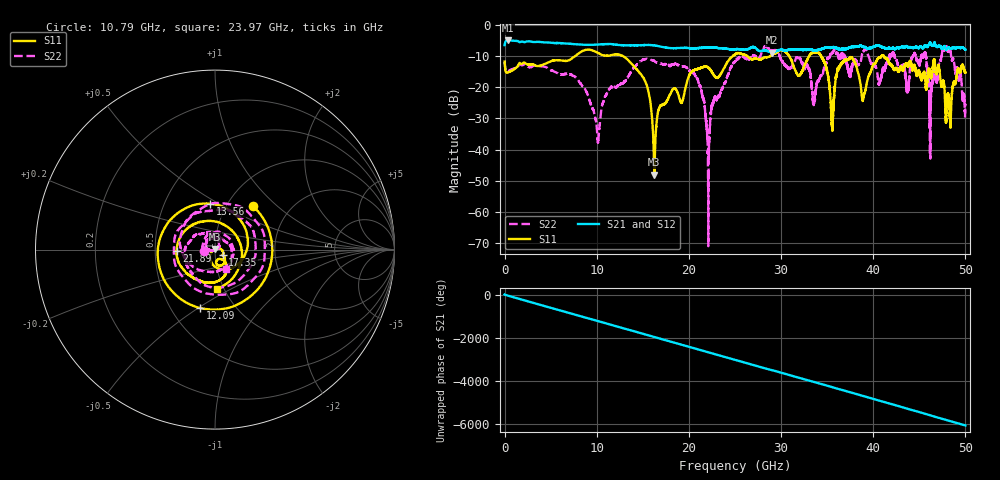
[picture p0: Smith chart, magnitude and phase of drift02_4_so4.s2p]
!Created with skrf (http://scikit-rf.org).
# Hz S RI R 50.0
!freq ReS11 ImS11 ReS21 ImS21 ReS12 ImS12 ReS22 ImS22
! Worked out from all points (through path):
!   10001 points, 300 kHz to 50 GHz, reference 50 ohm
!   highest |S21| = -5.04 dB at 325.3 MHz (marker M1); lowest = -8.9 dB at 29.05 GHz (marker M2)
!   group delay of S21, straight-line fit = 336 ps
!   lowest |S11| = -48.0 dB at 16.25 GHz (marker M3), VSWR 1.01, Z = 49.8 + j0.357 ohm
!   |S11| at or under -10 dB: start of sweep to 7.669 GHz; 12.81 GHz to 24.77 GHz (11.96 GHz wide, 63.6 % of centre); 41.12 GHz to end of sweep (the widest 3 of 14)
!   |S22| runs from -70.9 to -6.9 dB; largest |S21 - S12| = 0.031
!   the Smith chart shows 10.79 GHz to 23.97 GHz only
!   S11 on the Smith chart (normalised r, x): 10.79 GHz: 1.32, +0.71; 12.09 GHz: 0.69, -0.51; 13.56 GHz: 0.84, +0.46; 17.35 GHz: 1.09, -0.07; 21.89 GHz: 0.65, -0.01; 23.97 GHz: 0.92, -0.43
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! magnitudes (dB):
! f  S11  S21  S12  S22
! 300 kHz  -11.8  -6.5  -6.5  -11.8
! 325.3 MHz  -15.3  -5.0  -5.0  -15.1
! 8.335 GHz  -8.6  -6.4  -6.4  -19.2
! 10.11 GHz  -9.0  -6.3  -6.3  -37.2
! 10.79 GHz  -9.9  -6.2  -6.2  -23.9
! 12.09 GHz  -9.5  -6.4  -6.4  -20.1
! 13.56 GHz  -11.8  -6.6  -6.6  -15.9
! 16.25 GHz  -48.0  -6.7  -6.6  -11.6
! 16.67 GHz  -27.6  -6.8  -6.8  -12.2
! 17.35 GHz  -25.4  -7.3  -7.2  -12.6
! 20.74 GHz  -14.3  -7.5  -7.5  -16.8
! 21.89 GHz  -13.4  -7.3  -7.3  -31.4
! 23.97 GHz  -13.1  -7.6  -7.7  -18.4
! 25 GHz  -9.5  -7.9  -7.9  -11.7
! 29.05 GHz  -9.6  -8.9  -8.9  -8.2
! 33.34 GHz  -9.1  -8.0  -8.0  -20.6
! 35.54 GHz  -31.1  -7.3  -7.3  -9.1
! 36.8 GHz  -11.8  -7.9  -7.8  -9.7
! 41.67 GHz  -11.9  -7.4  -7.5  -11.8
! 46.25 GHz  -16.0  -6.1  -6.1  -23.4
! 48.11 GHz  -22.3  -7.2  -7.3  -8.5
! 50 GHz  -15.3  -8.0  -7.9  -26.1
